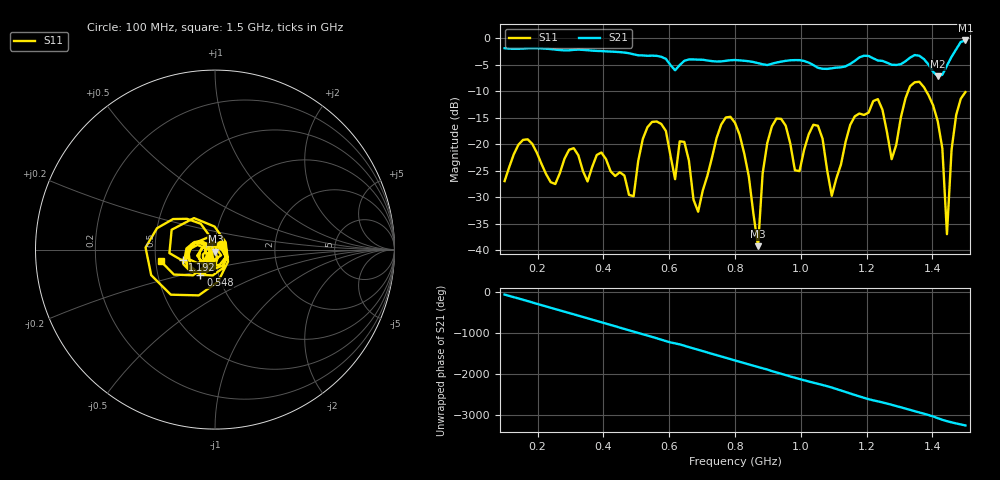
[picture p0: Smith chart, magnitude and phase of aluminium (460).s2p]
! NanoVNA-App
! Date: 2025-09-25 14:58:52
! Start: 100MHz Stop: 1,5GHz Points: 101
! S-Parameter data: F S11 S21 S12 S22
# Hz S RI R 50
!  Frequency  S11_Real  S11_Imag  S21_Real  S21_Imag  S12_Real  S12_Imag  S22_Real  S22_Imag
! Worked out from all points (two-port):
!   101 points, 100 MHz to 1.5 GHz, reference 50 ohm
!   highest |S21| = -0.45 dB at 1.5 GHz (marker M1); lowest = -7.2 dB at 1.416 GHz (marker M2)
!   |S21| within 3 dB of the highest: start of sweep to 569.7 MHz; 1.459 GHz to end of sweep (the widest 2 of 4)
!   lowest |S11| = -39.2 dB at 870 MHz (marker M3), VSWR 1.02, Z = 50.2 - j1.07 ohm
!   |S11| at or under -10 dB: start of sweep to 1.326 GHz; 1.381 GHz to end of sweep
!   S12 and S22 are empty: the file has one direction only
!   S11 on the Smith chart (normalised r, x): 100 MHz: 1.07, +0.06; 548 MHz: 0.82, -0.24; 1.192 GHz: 0.69, -0.08; 1.5 GHz: 0.53, -0.08
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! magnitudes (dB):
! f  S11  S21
! 100 MHz  -27.0  -1.9
! 156 MHz  -19.2  -2.0
! 338 MHz  -25.1  -2.2
! 492 MHz  -29.8  -3.1
! 548 MHz  -15.8  -3.3
! 576 MHz  -16.2  -3.5
! 646 MHz  -19.6  -4.3
! 688 MHz  -32.7  -4.1
! 800 MHz  -16.0  -4.1
! 870 MHz  -39.2  -4.7
! 912 MHz  -16.7  -4.9
! 996 MHz  -25.1  -4.2
! 1.038 GHz  -16.3  -5.1
! 1.094 GHz  -29.7  -5.7
! 1.192 GHz  -14.5  -3.3
! 1.234 GHz  -11.5  -4.2
! 1.276 GHz  -22.8  -5.0
! 1.346 GHz  -8.3  -3.2
! 1.416 GHz  -15.7  -7.2
! 1.444 GHz  -37.0  -5.2
! 1.458 GHz  -21.1  -3.5
! 1.5 GHz  -10.2  -0.5
